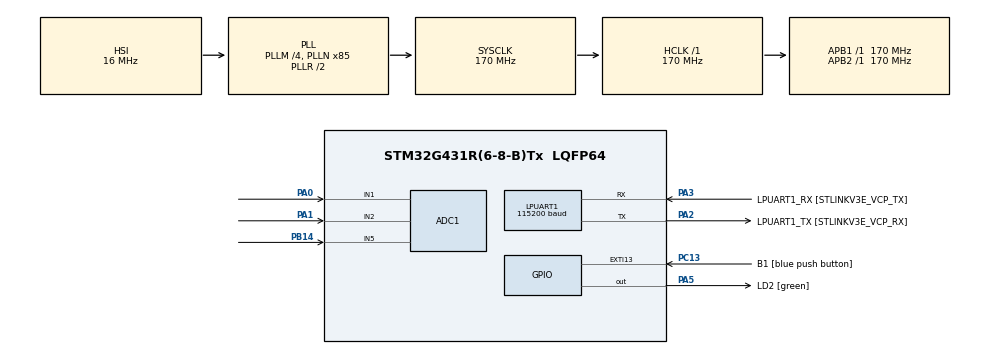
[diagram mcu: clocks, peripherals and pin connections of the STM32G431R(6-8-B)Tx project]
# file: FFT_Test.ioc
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ADC1.Channel-0\#ChannelRegularConversion=ADC_CHANNEL_1
ADC1.Channel-1\#ChannelRegularConversion=ADC_CHANNEL_2
ADC1.ContinuousConvMode=DISABLE
ADC1.DMAContinuousRequests=ENABLE
ADC1.DiscontinuousConvMode=DISABLE
ADC1.EOCSelection=ADC_EOC_SEQ_CONV
ADC1.ExternalTrigConv=ADC_EXTERNALTRIG_T1_TRGO
ADC1.NbrOfConversion=2
ADC1.NbrOfConversionFlag=1
ADC1.OffsetNumber-0\#ChannelRegularConversion=ADC_OFFSET_NONE
ADC1.OffsetNumber-1\#ChannelRegularConversion=ADC_OFFSET_NONE
ADC1.Overrun=ADC_OVR_DATA_OVERWRITTEN
ADC1.Rank-0\#ChannelRegularConversion=1
ADC1.Rank-1\#ChannelRegularConversion=2
ADC1.SamplingTime-0\#ChannelRegularConversion=ADC_SAMPLETIME_12CYCLES_5
ADC1.SamplingTime-1\#ChannelRegularConversion=ADC_SAMPLETIME_12CYCLES_5
ADC1.master=1
Dma.ADC1.0.Direction=DMA_PERIPH_TO_MEMORY
Dma.ADC1.0.EventEnable=DISABLE
Dma.ADC1.0.Instance=DMA1_Channel1
Dma.ADC1.0.MemDataAlignment=DMA_MDATAALIGN_WORD
Dma.ADC1.0.MemInc=DMA_MINC_ENABLE
Dma.ADC1.0.Mode=DMA_CIRCULAR
Dma.ADC1.0.PeriphDataAlignment=DMA_PDATAALIGN_WORD
Dma.ADC1.0.PeriphInc=DMA_PINC_DISABLE
Dma.ADC1.0.Polarity=HAL_DMAMUX_REQ_GEN_RISING
Dma.ADC1.0.Priority=DMA_PRIORITY_LOW
Dma.ADC1.0.RequestNumber=1
Dma.ADC1.0.SignalID=NONE
Dma.ADC1.0.SyncEnable=DISABLE
Dma.ADC1.0.SyncPolarity=HAL_DMAMUX_SYNC_NO_EVENT
Dma.ADC1.0.SyncRequestNumber=1
Dma.ADC1.0.SyncSignalID=NONE
Dma.Request0=ADC1
LPUART1.BaudRate=115200
LPUART1.WordLength=UART_WORDLENGTH_8B
Mcu.Family=STM32G4
Mcu.Name=STM32G431R(6-8-B)Tx
Mcu.Package=LQFP64
NVIC.DMA1_Channel1_IRQn=true\:0\:0\:false\:false\:true\:false\:true\:true
NVIC.PriorityGroup=NVIC_PRIORITYGROUP_4
PA0.Mode=IN1-Single-Ended
PA0.Signal=ADC1_IN1
PA1.Mode=IN2-Single-Ended
PA1.Signal=ADC1_IN2
PA13.GPIO_Label=T_SWDIO
PA13.Mode=Serial_Wire
PA13.Signal=SYS_JTMS-SWDIO
PA14.GPIO_Label=T_SWCLK
PA14.Mode=Serial_Wire
PA14.Signal=SYS_JTCK-SWCLK
PA2.GPIO_Label=LPUART1_TX [STLINKV3E_VCP_RX]
PA2.Mode=Asynchronous
PA2.Signal=LPUART1_TX
PA3.GPIO_Label=LPUART1_RX [STLINKV3E_VCP_TX]
PA3.Mode=Asynchronous
PA3.Signal=LPUART1_RX
PA5.GPIO_Label=LD2 [green]
PA5.Signal=GPIO_Output
PB14.Mode=IN5-Single-Ended
PB14.Signal=ADC1_IN5
PB3.GPIO_Label=T_SWO
PB3.Signal=SYS_JTDO-SWO
PC13.GPIO_Label=B1 [blue push button]
PC13.Signal=GPXTI13
PC14-OSC32_IN.Mode=LSE-External-Oscillator
PC14-OSC32_IN.Signal=RCC_OSC32_IN
PC15-OSC32_OUT.Mode=LSE-External-Oscillator
PC15-OSC32_OUT.Signal=RCC_OSC32_OUT
PF0-OSC_IN.Mode=HSE-External-Oscillator
PF0-OSC_IN.Signal=RCC_OSC_IN
PF1-OSC_OUT.Mode=HSE-External-Oscillator
PF1-OSC_OUT.Signal=RCC_OSC_OUT
ProjectManager.HeapSize=0x200
ProjectManager.StackSize=0x400
ProjectManager.TargetToolchain=STM32CubeIDE
RCC.ADC12Freq_Value=170000000
RCC.AHBFreq_Value=170000000
RCC.APB1Freq_Value=170000000
RCC.APB1TimFreq_Value=170000000
RCC.APB2Freq_Value=170000000
RCC.APB2TimFreq_Value=170000000
RCC.CortexFreq_Value=170000000
RCC.EXTERNAL_CLOCK_VALUE=12288000
RCC.HCLKFreq_Value=170000000
RCC.HSE_VALUE=24000000
RCC.HSI48_VALUE=48000000
RCC.HSI_VALUE=16000000
RCC.PLLM=RCC_PLLM_DIV4
RCC.PLLN=85
RCC.RTCClockSelection=RCC_RTCCLKSOURCE_LSE
RCC.SYSCLKFreq_VALUE=170000000
RCC.SYSCLKSource=RCC_SYSCLKSOURCE_PLLCLK
RCC.USBFreq_Value=170000000
RCC.VCOOutputFreq_Value=340000000
TIM1.AutoReloadPreload=TIM_AUTORELOAD_PRELOAD_ENABLE
TIM1.PeriodNoDither=20-1
TIM1.Prescaler=170-1
TIM1.TIM_MasterOutputTrigger=TIM_TRGO_UPDATE
VP_SYS_VS_DBSignals.Mode=DisableDeadBatterySignals
VP_TIM1_VS_ClockSourceINT.Mode=Internal
board=NUCLEO-G431RB

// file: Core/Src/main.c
/* USER CODE BEGIN Header */
/**
  ******************************************************************************
  * @file           : main.c
  * @brief          : Main program body
  ******************************************************************************
  * @attention
  *
  * Copyright (c) 2023 STMicroelectronics.
  * All rights reserved.
  *
  * This software is licensed under terms that can be found in the LICENSE file
  * in the root directory of this software component.
  * If no LICENSE file comes with this software, it is provided AS-IS.
  *
  ******************************************************************************
  */
/* USER CODE END Header */
#include "main.h"
#include "adc.h"
#include "dma.h"
#include "usart.h"
#include "tim.h"
#include "gpio.h"

/* USER CODE BEGIN Includes */
#include "fft.h"
#include "string.h"
/* USER CODE END Includes */

/* USER CODE BEGIN PD */
#define SAMPLE_FREQUENCY    50000
#define LOG2_LENGTH         5
/* USER CODE END PD */

/* USER CODE BEGIN PV */
volatile uint8_t fft_trigger = 0;
volatile uint32_t g_adc_buffer[2];
volatile int32_t g_fft_mag[16];
FFT fft;
/* USER CODE END PV */

void SystemClock_Config(void);

int main(void)
{

  /* MCU Configuration--------------------------------------------------------*/

  /* Reset of all peripherals, Initializes the Flash interface and the Systick. */
  HAL_Init();

  /* Configure the system clock */
  SystemClock_Config();

  /* Initialize all configured peripherals */
  MX_GPIO_Init();
  MX_DMA_Init();
  MX_LPUART1_UART_Init();
  MX_ADC1_Init();
  MX_TIM1_Init();
  /* USER CODE BEGIN 2 */
  fft_setup(&fft, LOG2_LENGTH, SAMPLE_FREQUENCY);
  while(HAL_ADCEx_Calibration_Start(&hadc1, ADC_SINGLE_ENDED) != HAL_OK);
  HAL_ADC_Start_DMA(&hadc1, (uint32_t*)&g_adc_buffer, ARRAY_SIZE(g_adc_buffer));
  HAL_TIM_Base_Start_IT(&htim1);

  /* USER CODE END 2 */

  /* Infinite loop */
  while (1)
  {

    /* USER CODE BEGIN 3 */
    if(fft_trigger) {
      fft_trigger = 0;
      // update FFT computation
      fft_compute(&fft);
      fft_convert_out(&fft);
      // transfer results to global array to view in the debugger
      for(uint16_t i = 0; i < (fft.length / 2); i++) {
        g_fft_mag[i] = fft.mag_out[i];
      }
    }
  }
  /* USER CODE END 3 */
}

void SystemClock_Config(void)
{
  RCC_OscInitTypeDef RCC_OscInitStruct = {0};
  RCC_ClkInitTypeDef RCC_ClkInitStruct = {0};

  /** Configure the main internal regulator output voltage
  */
  HAL_PWREx_ControlVoltageScaling(PWR_REGULATOR_VOLTAGE_SCALE1_BOOST);

  /** Initializes the RCC Oscillators according to the specified parameters
  * in the RCC_OscInitTypeDef structure.
  */
  RCC_OscInitStruct.OscillatorType = RCC_OSCILLATORTYPE_HSI;
  RCC_OscInitStruct.HSIState = RCC_HSI_ON;
  RCC_OscInitStruct.HSICalibrationValue = RCC_HSICALIBRATION_DEFAULT;
  RCC_OscInitStruct.PLL.PLLState = RCC_PLL_ON;
  RCC_OscInitStruct.PLL.PLLSource = RCC_PLLSOURCE_HSI;
  RCC_OscInitStruct.PLL.PLLM = RCC_PLLM_DIV4;
  RCC_OscInitStruct.PLL.PLLN = 85;
  RCC_OscInitStruct.PLL.PLLP = RCC_PLLP_DIV2;
  RCC_OscInitStruct.PLL.PLLQ = RCC_PLLQ_DIV2;
  RCC_OscInitStruct.PLL.PLLR = RCC_PLLR_DIV2;
  if (HAL_RCC_OscConfig(&RCC_OscInitStruct) != HAL_OK)
  {
    Error_Handler();
  }

  /** Initializes the CPU, AHB and APB buses clocks
  */
  RCC_ClkInitStruct.ClockType = RCC_CLOCKTYPE_HCLK|RCC_CLOCKTYPE_SYSCLK
                              |RCC_CLOCKTYPE_PCLK1|RCC_CLOCKTYPE_PCLK2;
  RCC_ClkInitStruct.SYSCLKSource = RCC_SYSCLKSOURCE_PLLCLK;
  RCC_ClkInitStruct.AHBCLKDivider = RCC_SYSCLK_DIV1;
  RCC_ClkInitStruct.APB1CLKDivider = RCC_HCLK_DIV1;
  RCC_ClkInitStruct.APB2CLKDivider = RCC_HCLK_DIV1;

  if (HAL_RCC_ClockConfig(&RCC_ClkInitStruct, FLASH_LATENCY_4) != HAL_OK)
  {
    Error_Handler();
  }
}

/* USER CODE BEGIN 4 */
void HAL_ADC_ConvCpltCallback(ADC_HandleTypeDef *hadc)
{
  if(fft_input(&fft, ((int32_t)g_adc_buffer[0] - 2048))) {
    // set the semaphore when complete
    fft_trigger = 1;
  }
}
/* USER CODE END 4 */

void Error_Handler(void)
{
  __disable_irq();
  while (1)
  {
  }
}
